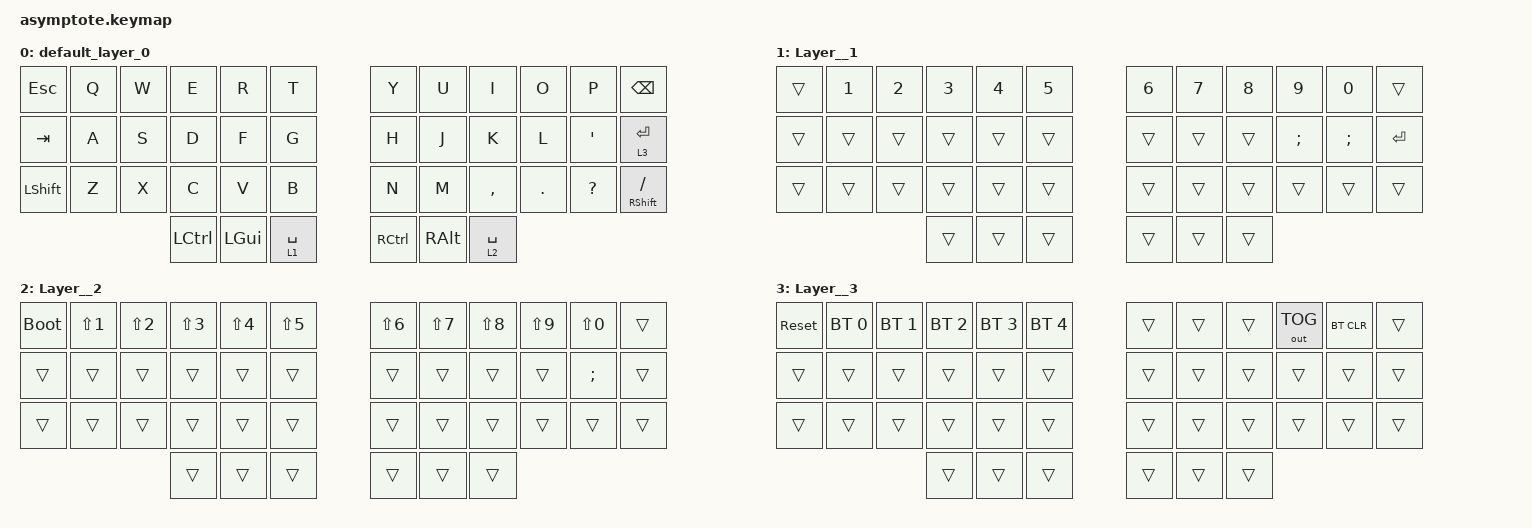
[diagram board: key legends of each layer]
/*
 * Copyright (c) 2020 The ZMK Contributors
 *
 * SPDX-License-Identifier: MIT
 */

#include <behaviors.dtsi>
#include <dt-bindings/zmk/bt.h>
#include <dt-bindings/zmk/keys.h>
#include <dt-bindings/zmk/outputs.h>

&mt {
    tapping-term-ms = <200>;
};

&lt {
    quick-tap-ms = <400>;
};

/ {
    keymap {
        compatible = "zmk,keymap";

        default_layer_0 {
            bindings = <
  &kp ESC  &kp Q  &kp W      &kp E     &kp R        &kp T                &kp Y          &kp U        &kp I    &kp O         &kp P          &kp BSPC
  &kp TAB  &kp A  &kp S      &kp D     &kp F        &kp G                &kp H          &kp J        &kp K    &kp L      &kp APOS         &lt 3 RET
&kp LSHFT  &kp Z  &kp X      &kp C     &kp V        &kp B                &kp N          &kp M    &kp COMMA  &kp DOT  &kp QUESTION  &mt RSHIFT SLASH
                         &kp LCTRL  &kp LGUI  &lt 1 SPACE    &kp RIGHT_CONTROL  &kp RIGHT_ALT  &lt 2 SPACE
            >;
        };

        Layer__1 {
            bindings = <
&trans  &kp N1  &kp N2  &kp N3  &kp N4  &kp N5    &kp N6  &kp N7  &kp N8    &kp N9         &kp N0     &trans
&trans  &trans  &trans  &trans  &trans  &trans    &trans  &trans  &trans  &kp SEMI  &kp SEMICOLON  &kp ENTER
&trans  &trans  &trans  &trans  &trans  &trans    &trans  &trans  &trans    &trans         &trans     &trans
                        &trans  &trans  &trans    &trans  &trans  &trans
            >;
        };

        Layer__2 {
            bindings = <
&bootloader  &kp LS(N1)  &kp LS(NUMBER_2)  &kp LS(N3)  &kp LS(N4)  &kp LS(N5)    &kp LS(NUMBER_6)  &kp LS(N7)  &kp LS(N8)  &kp LS(N9)     &kp LS(N0)  &trans
     &trans      &trans            &trans      &trans      &trans      &trans              &trans      &trans      &trans      &trans  &kp SEMICOLON  &trans
     &trans      &trans            &trans      &trans      &trans      &trans              &trans      &trans      &trans      &trans         &trans  &trans
                                               &trans      &trans      &trans              &trans      &trans      &trans
            >;
        };

        Layer__3 {
            bindings = <
&sys_reset  &bt BT_SEL 0  &bt BT_SEL 1  &bt BT_SEL 2  &bt BT_SEL 3  &bt BT_SEL 4    &trans  &trans  &trans  &out OUT_TOG  &bt BT_CLR  &trans
    &trans        &trans        &trans        &trans        &trans        &trans    &trans  &trans  &trans        &trans      &trans  &trans
    &trans        &trans        &trans        &trans        &trans        &trans    &trans  &trans  &trans        &trans      &trans  &trans
                                              &trans        &trans        &trans    &trans  &trans  &trans
            >;
        };
    };
};
